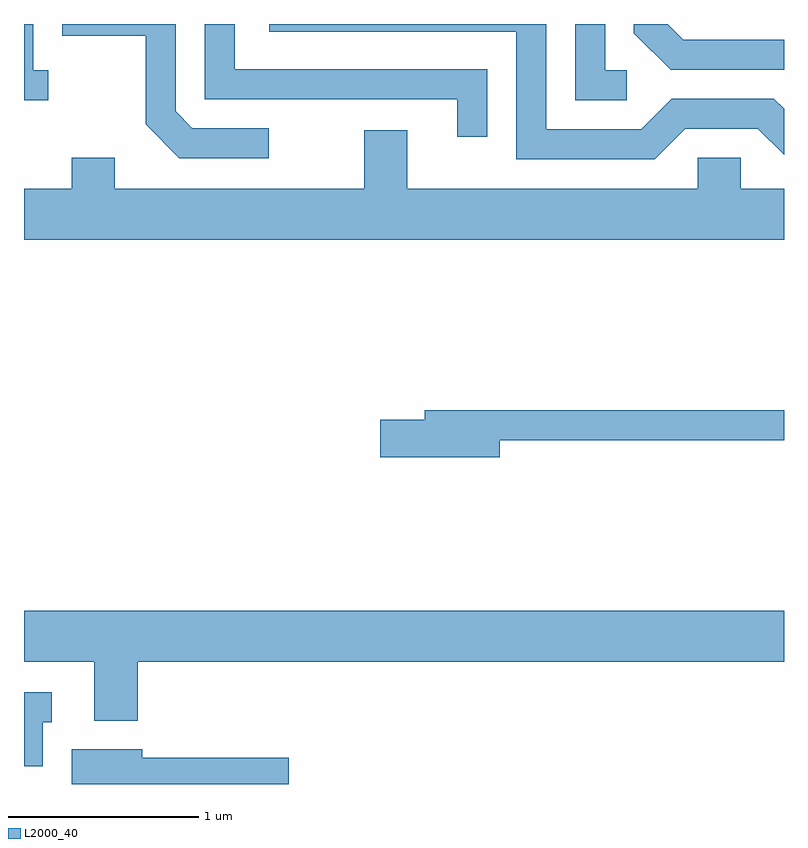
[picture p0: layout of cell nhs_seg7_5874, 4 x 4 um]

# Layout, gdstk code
import gdstk
lib = gdstk.Library(unit=1e-6, precision=1e-09)
def P(c, l, *ps):  # polygons
    for p in ps: c.add(gdstk.Polygon(p, *l))
L2000_40 = (2000, 40)

nhs_seg7_5874 = lib.new_cell('nhs_seg7_5874')
P(nhs_seg7_5874, L2000_40, [(367.092,1803.701),(367.474,1803.701),(367.611,1803.564),(367.611,1803.805),(367.557,1803.859),(367.019,1803.859),(366.859,1803.699),(366.359,1803.699),(366.359,1804.252),(364.901,1804.252),(364.901,1804.211),(366.201,1804.211),(366.201,1803.541),(366.932,1803.541)],
  [(366.049,1804.014),(364.719,1804.014),(364.719,1804.252),(364.561,1804.252),(364.561,1803.856),(365.891,1803.856),(365.891,1803.658),(366.049,1803.658)],
  [(366.783,1804.009),(366.669,1804.009),(366.669,1804.252),(366.511,1804.252),(366.511,1803.851),(366.783,1803.851)],
  [(364.898,1803.704),(364.497,1803.704),(364.409,1803.792),(364.409,1804.252),(363.811,1804.252),(363.811,1804.191),(364.251,1804.191),(364.251,1803.724),(364.429,1803.546),(364.898,1803.546)],
  [(367.611,1804.169),(367.082,1804.169),(366.999,1804.252),(366.821,1804.252),(366.821,1804.204),(367.014,1804.011),(367.611,1804.011)],
  [(363.738,1804.009),(363.659,1804.009),(363.659,1804.252),(363.611,1804.252),(363.611,1803.851),(363.738,1803.851)],
  [(367.611,1803.384),(367.384,1803.384),(367.384,1803.549),(367.156,1803.549),(367.156,1803.384),(365.629,1803.384),(365.629,1803.694),(365.401,1803.694),(365.401,1803.384),(364.089,1803.384),(364.089,1803.549),(363.861,1803.549),(363.861,1803.384),(363.611,1803.384),(363.611,1803.116),(367.611,1803.116)],
  [(366.114,1802.061),(367.611,1802.061),(367.611,1802.219),(365.721,1802.219),(365.721,1802.169),(365.486,1802.169),(365.486,1801.971),(366.114,1801.971)],
  [(364.209,1800.896),(367.611,1800.896),(367.611,1801.164),(363.611,1801.164),(363.611,1800.896),(363.981,1800.896),(363.981,1800.586),(364.209,1800.586)],
  [(363.709,1800.576),(363.758,1800.576),(363.758,1800.734),(363.611,1800.734),(363.611,1800.346),(363.709,1800.346)],
  [(365.004,1800.389),(364.234,1800.389),(364.234,1800.434),(363.861,1800.434),(363.861,1800.252),(365.004,1800.252)])

lib.write_gds('nhs_seg7_5874.gds')
